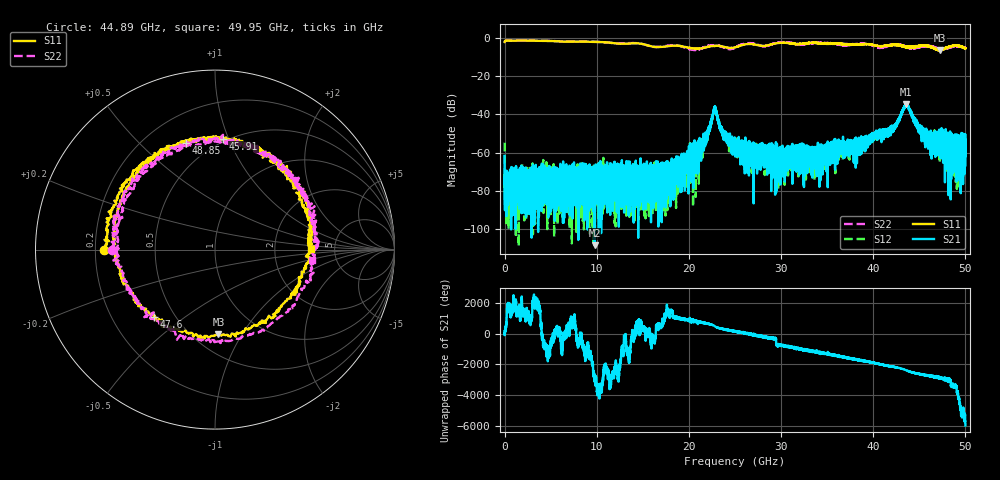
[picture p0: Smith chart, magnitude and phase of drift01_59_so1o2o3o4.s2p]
!Created with skrf (http://scikit-rf.org).
# Hz S RI R 50.0
!freq ReS11 ImS11 ReS21 ImS21 ReS12 ImS12 ReS22 ImS22
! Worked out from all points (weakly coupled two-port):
!   10001 points, 300 kHz to 50 GHz, reference 50 ohm
!   highest |S21| = -34.80 dB at 43.6 GHz (marker M1); lowest = -108.5 dB at 9.755 GHz (marker M2)
!   lowest |S11| = -6.6 dB at 47.28 GHz (marker M3), VSWR 2.77, Z = 32.9 - j39.7 ohm
!   |S11| at or under -10 dB: nowhere
!   |S22| runs from -6.4 to -1.4 dB; largest |S21 - S12| = 0.004
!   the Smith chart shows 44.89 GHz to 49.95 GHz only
!   S11 on the Smith chart (normalised r, x): 44.89 GHz: 0.24, -0.00; 45.91 GHz: 0.48, +0.96; 47.6 GHz: 0.38, -0.39; 48.85 GHz: 0.37, +0.70; 49.95 GHz: 3.28, +0.02
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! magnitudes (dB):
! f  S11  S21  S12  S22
! 300 kHz  -2.1  -61.7  -54.8  -2.1
! 255.3 MHz  -1.4  -81.9  -87.2  -1.4
! 425.3 MHz  -1.4  -73.0  -72.9  -1.4
! 8.335 GHz  -1.9  -74.3  -74.9  -1.8
! 9.755 GHz  -2.1  -108.5  -90.9  -2.0
! 16.67 GHz  -4.8  -79.1  -80.1  -4.8
! 20.94 GHz  -5.6  -60.3  -59.9  -6.1
! 21.94 GHz  -4.8  -51.8  -50.7  -4.4
! 22.79 GHz  -4.3  -36.3  -36.2  -4.0
! 23.86 GHz  -4.8  -51.3  -50.7  -5.1
! 25 GHz  -5.0  -54.2  -56.6  -5.0
! 29.52 GHz  -2.8  -59.9  -62.6  -2.6
! 33.34 GHz  -2.6  -60.5  -60.7  -2.7
! 41.67 GHz  -3.9  -49.0  -49.0  -4.0
! 43.6 GHz  -4.9  -34.8  -35.1  -4.8
! 44.89 GHz  -4.2  -45.4  -47.4  -4.8
! 45.91 GHz  -4.2  -53.0  -51.6  -4.4
! 47.28 GHz  -6.6  -56.6  -58.9  -5.8
! 47.6 GHz  -5.9  -57.8  -56.3  -5.9
! 48.85 GHz  -4.2  -64.1  -60.1  -4.4
! 49.95 GHz  -5.5  -53.2  -65.6  -5.3
! 50 GHz  -5.5  -66.7  -53.1  -5.2
